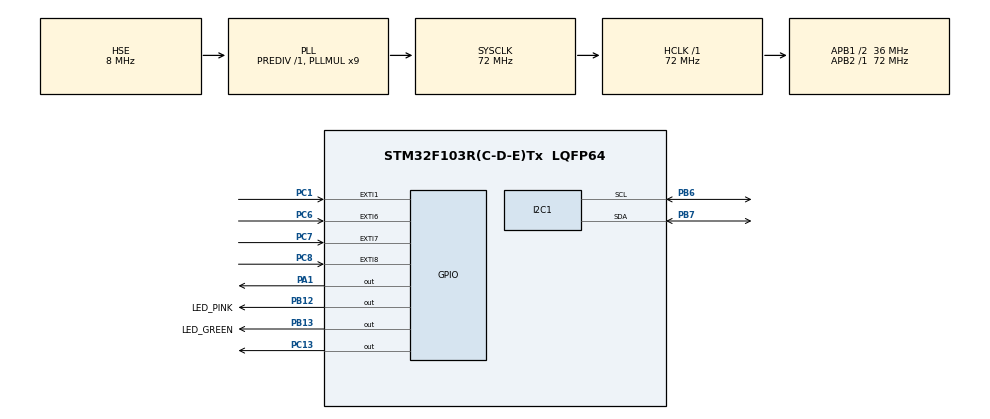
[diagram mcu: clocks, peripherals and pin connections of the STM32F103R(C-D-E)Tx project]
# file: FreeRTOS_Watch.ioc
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FREERTOS.Tasks01=defaultTask,24,128,StartDefaultTask,Default,NULL,Dynamic,NULL,NULL
FREERTOS.configTOTAL_HEAP_SIZE=48*1024
Mcu.Family=STM32F1
Mcu.Name=STM32F103R(C-D-E)Tx
Mcu.Package=LQFP64
NVIC.EXTI1_IRQn=true\:5\:0\:false\:false\:true\:true\:true\:true\:true
NVIC.EXTI9_5_IRQn=true\:5\:0\:false\:false\:true\:true\:true\:true\:true
NVIC.PriorityGroup=NVIC_PRIORITYGROUP_4
NVIC.TIM1_BRK_IRQn=true\:5\:0\:false\:false\:true\:true\:true\:true\:true
NVIC.TIM4_IRQn=true\:15\:0\:false\:false\:true\:false\:false\:true\:true
NVIC.TimeBase=TIM4_IRQn
NVIC.TimeBaseIP=TIM4
PA1.GPIO_PuPd=GPIO_PULLUP
PA1.Signal=GPIO_Output
PA13.Mode=Serial_Wire
PA13.Signal=SYS_JTMS-SWDIO
PA14.Mode=Serial_Wire
PA14.Signal=SYS_JTCK-SWCLK
PB12.GPIO_Label=LED_PINK
PB12.Signal=GPIO_Output
PB13.GPIO_Label=LED_GREEN
PB13.PinState=GPIO_PIN_RESET
PB13.Signal=GPIO_Output
PB6.Mode=I2C
PB6.Signal=I2C1_SCL
PB7.Mode=I2C
PB7.Signal=I2C1_SDA
PC1.GPIO_ModeDefaultEXTI=GPIO_MODE_IT_FALLING
PC1.GPIO_PuPd=GPIO_PULLUP
PC1.Signal=GPXTI1
PC13-TAMPER-RTC.Signal=GPIO_Output
PC6.GPIO_ModeDefaultEXTI=GPIO_MODE_IT_FALLING
PC6.GPIO_PuPd=GPIO_PULLUP
PC6.Signal=GPXTI6
PC7.GPIO_ModeDefaultEXTI=GPIO_MODE_IT_FALLING
PC7.GPIO_PuPd=GPIO_PULLUP
PC7.Signal=GPXTI7
PC8.GPIO_ModeDefaultEXTI=GPIO_MODE_IT_FALLING
PC8.GPIO_PuPd=GPIO_PULLUP
PC8.Signal=GPXTI8
PD0-OSC_IN.Mode=HSE-External-Oscillator
PD0-OSC_IN.Signal=RCC_OSC_IN
PD1-OSC_OUT.Mode=HSE-External-Oscillator
PD1-OSC_OUT.Signal=RCC_OSC_OUT
ProjectManager.HeapSize=0x200
ProjectManager.StackSize=0x400
ProjectManager.TargetToolchain=MDK-ARM V5.32
RCC.AHBFreq_Value=72000000
RCC.APB1CLKDivider=RCC_HCLK_DIV2
RCC.APB1Freq_Value=36000000
RCC.APB1TimFreq_Value=72000000
RCC.APB2Freq_Value=72000000
RCC.APB2TimFreq_Value=72000000
RCC.HCLKFreq_Value=72000000
RCC.PLLMUL=RCC_PLL_MUL9
RCC.PLLSourceVirtual=RCC_PLLSOURCE_HSE
RCC.SYSCLKFreq_VALUE=72000000
RCC.SYSCLKSource=RCC_SYSCLKSOURCE_PLLCLK
RCC.USBFreq_Value=72000000
TIM1.AutoReloadPreload=TIM_AUTORELOAD_PRELOAD_ENABLE
TIM1.ClockDivision=TIM_CLOCKDIVISION_DIV2
TIM1.Period=9999
TIM1.Prescaler=7199
VP_FREERTOS_VS_CMSIS_V2.Mode=CMSIS_V2
VP_SYS_VS_tim4.Mode=TIM4
VP_TIM1_VS_ClockSourceINT.Mode=Internal
board=custom

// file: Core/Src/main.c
/* USER CODE BEGIN Header */
/**
  ******************************************************************************
  * @file           : main.c
  * @brief          : Main program body
  ******************************************************************************
  * @attention
  *
  * <h2><center>&copy; Copyright (c) 2024 STMicroelectronics.
  * All rights reserved.</center></h2>
  *
  * This software component is licensed by ST under Ultimate Liberty license
  * SLA0044, the "License"; You may not use this file except in compliance with
  * the License. You may obtain a copy of the License at:
  *                             www.st.com/SLA0044
  *
  ******************************************************************************
  */
/* USER CODE END Header */
#include "main.h"
#include "cmsis_os.h"
#include "i2c.h"
#include "tim.h"
#include "gpio.h"

void SystemClock_Config(void);
void MX_FREERTOS_Init(void);

int main(void)
{

  /* MCU Configuration--------------------------------------------------------*/

  /* Reset of all peripherals, Initializes the Flash interface and the Systick. */
  HAL_Init();

  /* Configure the system clock */
  SystemClock_Config();

  /* Initialize all configured peripherals */
  MX_GPIO_Init();
  MX_I2C1_Init();
  MX_TIM1_Init();

  /* Init scheduler */
  osKernelInitialize();

  /* Call init function for freertos objects (in cmsis_os2.c) */
  MX_FREERTOS_Init();

  /* Start scheduler */
  osKernelStart();

  /* We should never get here as control is now taken by the scheduler */

  /* Infinite loop */
  while (1)
  {

  }
}

void SystemClock_Config(void)
{
  RCC_OscInitTypeDef RCC_OscInitStruct = {0};
  RCC_ClkInitTypeDef RCC_ClkInitStruct = {0};

  /** Initializes the RCC Oscillators according to the specified parameters
  * in the RCC_OscInitTypeDef structure.
  */
  RCC_OscInitStruct.OscillatorType = RCC_OSCILLATORTYPE_HSE;
  RCC_OscInitStruct.HSEState = RCC_HSE_ON;
  RCC_OscInitStruct.HSEPredivValue = RCC_HSE_PREDIV_DIV1;
  RCC_OscInitStruct.HSIState = RCC_HSI_ON;
  RCC_OscInitStruct.PLL.PLLState = RCC_PLL_ON;
  RCC_OscInitStruct.PLL.PLLSource = RCC_PLLSOURCE_HSE;
  RCC_OscInitStruct.PLL.PLLMUL = RCC_PLL_MUL9;
  if (HAL_RCC_OscConfig(&RCC_OscInitStruct) != HAL_OK)
  {
    Error_Handler();
  }

  /** Initializes the CPU, AHB and APB buses clocks
  */
  RCC_ClkInitStruct.ClockType = RCC_CLOCKTYPE_HCLK|RCC_CLOCKTYPE_SYSCLK
                              |RCC_CLOCKTYPE_PCLK1|RCC_CLOCKTYPE_PCLK2;
  RCC_ClkInitStruct.SYSCLKSource = RCC_SYSCLKSOURCE_PLLCLK;
  RCC_ClkInitStruct.AHBCLKDivider = RCC_SYSCLK_DIV1;
  RCC_ClkInitStruct.APB1CLKDivider = RCC_HCLK_DIV2;
  RCC_ClkInitStruct.APB2CLKDivider = RCC_HCLK_DIV1;

  if (HAL_RCC_ClockConfig(&RCC_ClkInitStruct, FLASH_LATENCY_2) != HAL_OK)
  {
    Error_Handler();
  }
}

void HAL_TIM_PeriodElapsedCallback(TIM_HandleTypeDef *htim)
{
  if (htim->Instance == TIM4) {
    HAL_IncTick();
  }
}

void Error_Handler(void)
{
  __disable_irq();
  while (1)
  {
  }
}

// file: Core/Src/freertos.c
/* USER CODE BEGIN Header */
/**
  ******************************************************************************
  * File Name          : freertos.c
  * Description        : Code for freertos applications
  ******************************************************************************
  * @attention
  *
  * <h2><center>&copy; Copyright (c) 2024 STMicroelectronics.
  * All rights reserved.</center></h2>
  *
  * This software component is licensed by ST under Ultimate Liberty license
  * SLA0044, the "License"; You may not use this file except in compliance with
  * the License. You may obtain a copy of the License at:
  *                             www.st.com/SLA0044
  *
  ******************************************************************************
  */
/* USER CODE END Header */

#include "FreeRTOS.h"
#include "task.h"
#include "main.h"
#include "cmsis_os.h"

/* USER CODE BEGIN Includes */
#include "event_groups.h"
#include "queue.h"
#include "u8g2.h"
#include "beep.h"
#include "Data.h"
#include "ShowTimeTask.h"
#include "ShowMenu.h"
#include "driver_lcd.h"
#include "driver_led.h"
/* USER CODE END Includes */

/* USER CODE BEGIN PD */
#define Task_default_size 128
/* USER CODE END PD */

/* USER CODE BEGIN Variables */
/* some task handle */
TimerHandle_t g_Timer;
TimerHandle_t g_Clock_Timer;

TaskHandle_t xRootTaskHandle = NULL;

TaskHandle_t xShowTimeTaskHandle = NULL;
TaskHandle_t xShowMenuTaskHandle = NULL;
TaskHandle_t xShowCalendarTaskHandle = NULL;
TaskHandle_t xShowClockTaskHandle = NULL;
TaskHandle_t xShowFlashLightTaskHandle = NULL;
TaskHandle_t xShowSettingTaskHandle = NULL;
TaskHandle_t xShowWoodenFishTaskHandle = NULL;
TaskHandle_t xShowDHT11TaskHandle = NULL;
TaskHandle_t xShowHRSPO2TaskHandle = NULL;

QueueHandle_t g_xQueueMenu;
uint16_t key1_filter = 0;
uint16_t key2_filter = 0;
uint16_t key3_filter = 0;
uint16_t key4_filter = 0;

/* USER CODE END Variables */
/* Definitions for defaultTask */
osThreadId_t defaultTaskHandle;
const osThreadAttr_t defaultTask_attributes = {
  .name = "defaultTask",
  .stack_size = 128 * 4,
  .priority = (osPriority_t) osPriorityNormal,
};

/* USER CODE BEGIN FunctionPrototypes */
extern void ClockTimerCallBackFun(void);

extern void ShowDHT11Task(void *params);
extern void ShowCalendarTask(void *params);
extern void ShowFlashLightTask(void *params);
extern void ShowWoodenFishTask(void *params);
extern void ShowClockTimeTask(void *params);
extern void ShowSetting_Task(void *params);

/* USER CODE END FunctionPrototypes */

void StartDefaultTask(void *argument);

void MX_FREERTOS_Init(void); /* (MISRA C 2004 rule 8.1) */

void MX_FREERTOS_Init(void) {
  /* USER CODE BEGIN Init */
    buzzer_init();
    //LCD_Init();
  /* USER CODE END Init */

  /* USER CODE BEGIN RTOS_TIMERS */
  /* start timers, add new ones, ... */
    g_Timer = xTimerCreate("Timer1",
				1000,
				pdTRUE,
				NULL,
				(TimerCallbackFunction_t)TimerCallBackFun);

	g_Clock_Timer = xTimerCreate("Timer2",
				100,
				pdTRUE,
				NULL,
				(TimerCallbackFunction_t)ClockTimerCallBackFun);

  /* USER CODE END RTOS_TIMERS */

  /* Create the thread(s) */
  /* creation of defaultTask */
  defaultTaskHandle = osThreadNew(StartDefaultTask, NULL, &defaultTask_attributes);

  /* USER CODE BEGIN RTOS_THREADS */
  /* add threads, ... */

   /* create some tasks */
	xTaskCreate(ShowTimeTask, "ShowTimeTask", 128, NULL, osPriorityNormal, &xShowTimeTaskHandle);
	xTaskCreate(ShowMenuTask, "ShowMenuTask", 256, NULL, osPriorityNormal, &xShowMenuTaskHandle);

/******** 5 apps ********/
	/*1*/
  	xTaskCreate(ShowCalendarTask, "ShowCalendarTask", 256, NULL, osPriorityNormal, &xShowCalendarTaskHandle);
	/*2*/
  	xTaskCreate(ShowFlashLightTask, "ShowFlashLightTask", Task_default_size, NULL, osPriorityNormal, &xShowFlashLightTaskHandle);
    /*3*/
  	xTaskCreate(ShowDHT11Task, "ShowDHT11Task", Task_default_size, NULL, osPriorityNormal, &xShowDHT11TaskHandle);
	//xTaskCreate(ShowWoodenFishTask, "ShowWoodenFishTask", Task_default_size, NULL, osPriorityNormal, &xShowWoodenFishTaskHandle);
    /*4*/
  	xTaskCreate(ShowClockTimeTask, "ShowClockTimeTask", Task_default_size, NULL, osPriorityNormal, &xShowClockTaskHandle);
	/*5*/
  	xTaskCreate(ShowSetting_Task, "ShowSetting_Task", 256, NULL, osPriorityNormal, &xShowSettingTaskHandle);

  /* USER CODE END RTOS_THREADS */

}

void StartDefaultTask(void *argument)
{
  /* USER CODE BEGIN StartDefaultTask */
  /* Infinite loop */

    /* launch time Timer */
	if(g_Timer != NULL)
	{
		xTimerStart(g_Timer, 0);
	}
     for(;;)
     {
       //LCD_Test();
         osDelay(1);
     }
  /* USER CODE END StartDefaultTask */
}

/* USER CODE BEGIN Application */
void HAL_GPIO_EXTI_Callback(uint16_t GPIO_Pin)
{
	/* key interrupt : send data to queue */

	/* some data maybe useless */
	extern BaseType_t end_flag;
	extern BaseType_t seclect_end;
	BaseType_t  RM_Flag, LM_Flag, EN_Flag, EX_Flag;
	Key_data key_data;

    if(GPIO_Pin == GPIO_PIN_1)
	{
		if(end_flag == 1&&seclect_end == 0)
		{
			RM_Flag = 1;
			key_data.rdata = RM_Flag;
			xQueueSendToBackFromISR(g_xQueueMenu, &key_data, NULL);
			HAL_GPIO_WritePin(GPIOC, GPIO_PIN_13, GPIO_PIN_RESET);
			RM_Flag = 0;
		}
	}
	if(GPIO_Pin == GPIO_PIN_7)
	{
		if(end_flag == 1&&seclect_end == 0)
		{
		 	LM_Flag = 1;
			key_data.ldata = LM_Flag;
			xQueueSendToBackFromISR(g_xQueueMenu, &key_data, NULL);
			HAL_GPIO_WritePin(GPIOC, GPIO_PIN_13, GPIO_PIN_RESET);
			LM_Flag = 0;
		}
	}
	if(GPIO_Pin == GPIO_PIN_8)
	{
		if(end_flag == 1&&seclect_end == 0)
		{
			EN_Flag = 1;
			key_data.updata = EN_Flag;
			xQueueSendToBackFromISR(g_xQueueMenu, &key_data, NULL);
			HAL_GPIO_WritePin(GPIOC, GPIO_PIN_13, GPIO_PIN_RESET);
			EN_Flag = 0;
		}
	}
	if(GPIO_Pin == GPIO_PIN_6)
	{Led_Control(1,1);
		if(end_flag == 1&&seclect_end == 0)
		{
			EX_Flag = 1;
			key_data.exdata = EX_Flag;
			if(end_flag == 1&&seclect_end == 0)xQueueSendToBackFromISR(g_xQueueMenu, &key_data, NULL);
			HAL_GPIO_WritePin(GPIOC, GPIO_PIN_13, GPIO_PIN_RESET);
			EX_Flag = 0;
		}
	}
}
/* USER CODE END Application */
